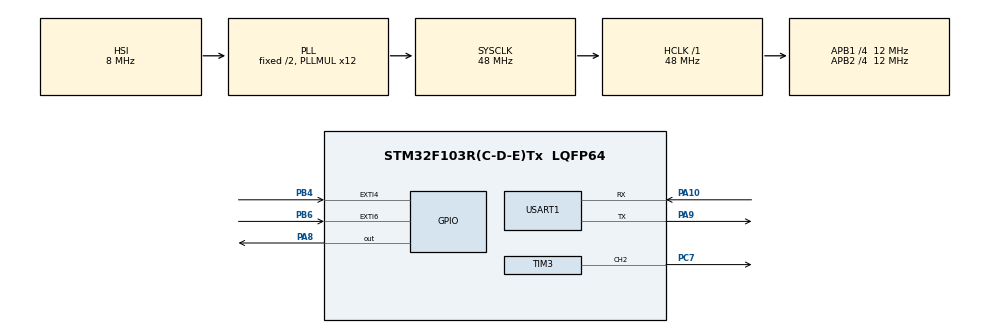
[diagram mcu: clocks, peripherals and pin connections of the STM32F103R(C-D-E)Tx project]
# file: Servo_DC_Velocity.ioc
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Mcu.Family=STM32F1
Mcu.Name=STM32F103R(C-D-E)Tx
Mcu.Package=LQFP64
NVIC.EXTI4_IRQn=true\:0\:0\:false\:false\:true\:true\:true\:true
NVIC.EXTI9_5_IRQn=true\:0\:0\:false\:false\:true\:true\:true\:true
NVIC.PriorityGroup=NVIC_PRIORITYGROUP_4
NVIC.TIM5_IRQn=true\:0\:0\:false\:false\:true\:true\:true\:true
NVIC.USART1_IRQn=true\:0\:0\:false\:false\:true\:true\:true\:true
PA10.Mode=Asynchronous
PA10.Signal=USART1_RX
PA13.Mode=Serial_Wire
PA13.Signal=SYS_JTMS-SWDIO
PA14.Mode=Serial_Wire
PA14.Signal=SYS_JTCK-SWCLK
PA8.Signal=GPIO_Output
PA9.Mode=Asynchronous
PA9.Signal=USART1_TX
PB4.GPIO_ModeDefaultEXTI=GPIO_MODE_IT_RISING_FALLING
PB4.Signal=GPXTI4
PB6.GPIO_ModeDefaultEXTI=GPIO_MODE_IT_RISING_FALLING
PB6.Signal=GPXTI6
PC7.Signal=S_TIM3_CH2
ProjectManager.HeapSize=0x200
ProjectManager.StackSize=0x400
ProjectManager.TargetToolchain=STM32CubeIDE
RCC.AHBFreq_Value=48000000
RCC.APB1CLKDivider=RCC_HCLK_DIV4
RCC.APB1Freq_Value=12000000
RCC.APB1TimFreq_Value=24000000
RCC.APB2CLKDivider=RCC_HCLK_DIV4
RCC.APB2Freq_Value=12000000
RCC.APB2TimFreq_Value=24000000
RCC.HCLKFreq_Value=48000000
RCC.PLLMUL=RCC_PLL_MUL12
RCC.SYSCLKFreq_VALUE=48000000
RCC.SYSCLKSource=RCC_SYSCLKSOURCE_PLLCLK
RCC.USBFreq_Value=48000000
SH.S_TIM3_CH2.0=TIM3_CH2,PWM Generation2 CH2
TIM3.Channel-PWM\ Generation2\ CH2=TIM_CHANNEL_2
TIM3.Period=1599
TIM3.Prescaler=0
TIM5.Period=239
TIM5.Prescaler=999
USART1.VirtualMode=VM_ASYNC
VP_TIM5_VS_ClockSourceINT.Mode=Internal
board=custom

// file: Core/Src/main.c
/* USER CODE BEGIN Header */
/**
  ******************************************************************************
  * @file           : main.c
  * @brief          : Main program body
  ******************************************************************************
  * @attention
  *
  * Copyright (c) 2025 STMicroelectronics.
  * All rights reserved.
  *
  * This software is licensed under terms that can be found in the LICENSE file
  * in the root directory of this software component.
  * If no LICENSE file comes with this software, it is provided AS-IS.
  *
  ******************************************************************************
  */
/* USER CODE END Header */
#include "main.h"

/* USER CODE BEGIN Includes */
#include <stdbool.h>
#include <stdio.h>
#include <stdlib.h>
#include <string.h>

/* USER CODE END Includes */

/* USER CODE BEGIN PTD */
typedef struct GPIO_Name {
  GPIO_TypeDef *port;
  uint16_t pin;
} GPIO_Name;

typedef struct {
  // previous state
  float  Ui_previous;
  float  Ud_previous;
  float  ek_previous;

  // control parameters
  float  Ts;
  float  Kp;
  float  Ki;
  float  Kd;
  float  alpha;
  float  Kb;

  // Don't want this to be modified
  const bool  allow_filter;
  const bool  allow_windup;
} PIDState;

typedef struct {
  float Total_PID;       // Final saturated output
  uint8_t dir;          // Direction of control, 1: forward, 0: reverse
} PIDOutputType;

typedef struct {
  int previous_encoder_state;
  int encoder_res;
  long revolutions;
  int counter;

  int Counter_Vec;
  float Current_Vec;
} EncoderState;

/* USER CODE END PTD */

/* USER CODE BEGIN PD */
#define PI        3.14159
#define MAX_SPEED 331  // rad/s
#define PI2REV    (PI / 2000)

/* USER CODE END PD */

/* USER CODE BEGIN PM */
// macros for change duty cycle in control program
#define set_duty(duty) __HAL_TIM_SET_COMPARE(&htim3, TIM_CHANNEL_2, duty);

/* USER CODE END PM */

TIM_HandleTypeDef htim3;
TIM_HandleTypeDef htim5;

UART_HandleTypeDef huart1;

/* USER CODE BEGIN PV */
// naming pin
GPIO_Name Encoder_Channel_A = {GPIOB, GPIO_PIN_4};
GPIO_Name Encoder_Channel_B = {GPIOB, GPIO_PIN_6};
GPIO_Name DIR_Port = {GPIOA, GPIO_PIN_8};

// State of Encoder
EncoderState encoder = {.previous_encoder_state = 0b00,
                          .encoder_res = 4000,
                          .revolutions = 0,
                          .counter = 0,
                          .Counter_Vec = 0,
                          .Current_Vec = 0};

// initialize the PID controller parameter
const float Kc = 10;
const float Tau_i = 0.06;
const float K = 33.1;

PIDState velocity_pid = {
  .Ui_previous = 0,
  .Ud_previous = 0,
  .ek_previous = 0,
  .Ts = (float)0.01,
  .Kp = Kc / (K * Tau_i),
  .Ki = Kc / K,
  .Kd = 0,
  .alpha = 0,
  .Kb = 1,
  .allow_filter = false,
  .allow_windup = true
};

uint8_t* Rx_data;
// Set points
float set_point_velocity = 0;

/* USER CODE END PV */

void SystemClock_Config(void);
static void MX_GPIO_Init(void);
static void MX_TIM3_Init(void);
static void MX_TIM5_Init(void);
static void MX_USART1_UART_Init(void);

int main(void)
{

  /* MCU Configuration--------------------------------------------------------*/

  /* Reset of all peripherals, Initializes the Flash interface and the Systick. */
  HAL_Init();

  /* Configure the system clock */
  SystemClock_Config();

  /* Initialize all configured peripherals */
  MX_GPIO_Init();
  MX_TIM3_Init();
  MX_TIM5_Init();
  MX_USART1_UART_Init();
  /* USER CODE BEGIN 2 */
  HAL_NVIC_DisableIRQ(EXTI9_5_IRQn);
  set_point_velocity = 300;
  HAL_GPIO_WritePin(GPIOA, GPIO_PIN_8, GPIO_PIN_SET);
  HAL_TIM_PWM_Start(&htim3, TIM_CHANNEL_2);
  HAL_TIM_Base_Start_IT(&htim5);

  HAL_UART_Transmit(&huart1, "V0\r\n", 4, 8);
  /* USER CODE END 2 */

  /* Infinite loop */
  while (1)
  {

  }
}

void SystemClock_Config(void)
{
  RCC_OscInitTypeDef RCC_OscInitStruct = {0};
  RCC_ClkInitTypeDef RCC_ClkInitStruct = {0};

  /** Initializes the RCC Oscillators according to the specified parameters
  * in the RCC_OscInitTypeDef structure.
  */
  RCC_OscInitStruct.OscillatorType = RCC_OSCILLATORTYPE_HSI;
  RCC_OscInitStruct.HSIState = RCC_HSI_ON;
  RCC_OscInitStruct.HSICalibrationValue = RCC_HSICALIBRATION_DEFAULT;
  RCC_OscInitStruct.PLL.PLLState = RCC_PLL_ON;
  RCC_OscInitStruct.PLL.PLLSource = RCC_PLLSOURCE_HSI_DIV2;
  RCC_OscInitStruct.PLL.PLLMUL = RCC_PLL_MUL12;
  if (HAL_RCC_OscConfig(&RCC_OscInitStruct) != HAL_OK)
  {
    Error_Handler();
  }

  /** Initializes the CPU, AHB and APB buses clocks
  */
  RCC_ClkInitStruct.ClockType = RCC_CLOCKTYPE_HCLK|RCC_CLOCKTYPE_SYSCLK
                              |RCC_CLOCKTYPE_PCLK1|RCC_CLOCKTYPE_PCLK2;
  RCC_ClkInitStruct.SYSCLKSource = RCC_SYSCLKSOURCE_PLLCLK;
  RCC_ClkInitStruct.AHBCLKDivider = RCC_SYSCLK_DIV1;
  RCC_ClkInitStruct.APB1CLKDivider = RCC_HCLK_DIV4;
  RCC_ClkInitStruct.APB2CLKDivider = RCC_HCLK_DIV4;

  if (HAL_RCC_ClockConfig(&RCC_ClkInitStruct, FLASH_LATENCY_1) != HAL_OK)
  {
    Error_Handler();
  }
}

static void MX_TIM3_Init(void)
{

  TIM_MasterConfigTypeDef sMasterConfig = {0};
  TIM_OC_InitTypeDef sConfigOC = {0};

  htim3.Instance = TIM3;
  htim3.Init.Prescaler = 0;
  htim3.Init.CounterMode = TIM_COUNTERMODE_UP;
  htim3.Init.Period = 1599;
  htim3.Init.ClockDivision = TIM_CLOCKDIVISION_DIV1;
  htim3.Init.AutoReloadPreload = TIM_AUTORELOAD_PRELOAD_DISABLE;
  if (HAL_TIM_PWM_Init(&htim3) != HAL_OK)
  {
    Error_Handler();
  }
  sMasterConfig.MasterOutputTrigger = TIM_TRGO_RESET;
  sMasterConfig.MasterSlaveMode = TIM_MASTERSLAVEMODE_DISABLE;
  if (HAL_TIMEx_MasterConfigSynchronization(&htim3, &sMasterConfig) != HAL_OK)
  {
    Error_Handler();
  }
  sConfigOC.OCMode = TIM_OCMODE_PWM1;
  sConfigOC.Pulse = 0;
  sConfigOC.OCPolarity = TIM_OCPOLARITY_HIGH;
  sConfigOC.OCFastMode = TIM_OCFAST_DISABLE;
  if (HAL_TIM_PWM_ConfigChannel(&htim3, &sConfigOC, TIM_CHANNEL_2) != HAL_OK)
  {
    Error_Handler();
  }
  HAL_TIM_MspPostInit(&htim3);

}

static void MX_TIM5_Init(void)
{

  TIM_ClockConfigTypeDef sClockSourceConfig = {0};
  TIM_MasterConfigTypeDef sMasterConfig = {0};

  htim5.Instance = TIM5;
  htim5.Init.Prescaler = 999;
  htim5.Init.CounterMode = TIM_COUNTERMODE_UP;
  htim5.Init.Period = 239;
  htim5.Init.ClockDivision = TIM_CLOCKDIVISION_DIV1;
  htim5.Init.AutoReloadPreload = TIM_AUTORELOAD_PRELOAD_DISABLE;
  if (HAL_TIM_Base_Init(&htim5) != HAL_OK)
  {
    Error_Handler();
  }
  sClockSourceConfig.ClockSource = TIM_CLOCKSOURCE_INTERNAL;
  if (HAL_TIM_ConfigClockSource(&htim5, &sClockSourceConfig) != HAL_OK)
  {
    Error_Handler();
  }
  sMasterConfig.MasterOutputTrigger = TIM_TRGO_RESET;
  sMasterConfig.MasterSlaveMode = TIM_MASTERSLAVEMODE_DISABLE;
  if (HAL_TIMEx_MasterConfigSynchronization(&htim5, &sMasterConfig) != HAL_OK)
  {
    Error_Handler();
  }

}

static void MX_USART1_UART_Init(void)
{

  huart1.Instance = USART1;
  huart1.Init.BaudRate = 115200;
  huart1.Init.WordLength = UART_WORDLENGTH_8B;
  huart1.Init.StopBits = UART_STOPBITS_1;
  huart1.Init.Parity = UART_PARITY_NONE;
  huart1.Init.Mode = UART_MODE_TX_RX;
  huart1.Init.HwFlowCtl = UART_HWCONTROL_NONE;
  huart1.Init.OverSampling = UART_OVERSAMPLING_16;
  if (HAL_UART_Init(&huart1) != HAL_OK)
  {
    Error_Handler();
  }

}

static void MX_GPIO_Init(void)
{
  GPIO_InitTypeDef GPIO_InitStruct = {0};

  /* GPIO Ports Clock Enable */
  __HAL_RCC_GPIOC_CLK_ENABLE();
  __HAL_RCC_GPIOA_CLK_ENABLE();
  __HAL_RCC_GPIOB_CLK_ENABLE();

  /*Configure GPIO pin Output Level */
  HAL_GPIO_WritePin(GPIOA, GPIO_PIN_8, GPIO_PIN_RESET);

  /*Configure GPIO pin : PA8 */
  GPIO_InitStruct.Pin = GPIO_PIN_8;
  GPIO_InitStruct.Mode = GPIO_MODE_OUTPUT_PP;
  GPIO_InitStruct.Pull = GPIO_NOPULL;
  GPIO_InitStruct.Speed = GPIO_SPEED_FREQ_LOW;
  HAL_GPIO_Init(GPIOA, &GPIO_InitStruct);

  /*Configure GPIO pins : PB4 PB6 */
  GPIO_InitStruct.Pin = GPIO_PIN_4|GPIO_PIN_6;
  GPIO_InitStruct.Mode = GPIO_MODE_IT_RISING_FALLING;
  GPIO_InitStruct.Pull = GPIO_NOPULL;
  HAL_GPIO_Init(GPIOB, &GPIO_InitStruct);

  /* EXTI interrupt init*/
  HAL_NVIC_SetPriority(EXTI4_IRQn, 0, 0);
  HAL_NVIC_EnableIRQ(EXTI4_IRQn);

  HAL_NVIC_SetPriority(EXTI9_5_IRQn, 0, 0);
  HAL_NVIC_EnableIRQ(EXTI9_5_IRQn);

}

/* USER CODE BEGIN 4 */

/**
  * @brief Digital PID function for Discrete system
  * @param pid_state: PID State that store previous state like ek, Ui, Ud (if filter is allowed) and control parameters of that PID like Kp, Ki, Kd, filter and anti wind-up param like alpha, Kb. This variable is made static so that the previous state can be directly modified inside this function.
  * @param set_point: This variable have type double. In Position control, this value is the relative distance with respect to the base point (Global base), therefore, it should have type float to represent real number. In velocity control, this values feature speed we want motor to reach, in such scenarios that speed of motor is controlled by Duty cycle of H-Bridge, we would want this to be the value of TIM->CCRx (uint16_t).
  * @param current: same as set_point, store the current velocity or relative distance.
  * @param ref_val: reference output for PID. In Position control, we have the output of this PID to be the speed (rad/s) and in Velocity control, this value is the maximum CCR (TIM->ARR)
  * @retval PIDOutputType
  */
PIDOutputType digital_PID(PIDState *pid_state,          // Store previous state of Digital PID and control params
                          const float set_point,         // set point for system
                          const float current,           // current value (velocity or distance)
                          const float ref_val)           // reference value (speed or Duty)
{
  // compute error
  const float ek = set_point - current;

  // compute partial terms
  const float Up = pid_state->Kp * ek;
  float Ui = pid_state->Ui_previous + pid_state->Ki * ek * pid_state->Ts;
  float Ud = pid_state->Kd * (ek - pid_state->ek_previous) / pid_state->Ts;

  // Activate filter (if allowed)
  if (pid_state->allow_filter)
  {
    Ud = pid_state->Ud_previous * (1 - pid_state->alpha) + pid_state->alpha * Ud;
    pid_state->Ud_previous = (float)Ud;
  }

  // total compute value
    float Total_PID = Up + Ui + Ud;

  // Activate anti-windup (if allowed)
  if (pid_state->allow_windup)
  {
    double e_reset = 0;
    if (Total_PID < -ref_val)
    {
      e_reset = -ref_val - Total_PID;
    }
    else if (Total_PID > ref_val)
    {
      e_reset = Total_PID - ref_val;
    }
    Ui = (float)(Ui + pid_state->Kb * e_reset * pid_state->Ts);
  }

  // update state for next call
  pid_state->Ui_previous = Ui;
  pid_state->ek_previous = ek;

  // Saturate the output
  uint8_t _dir = 1;   // forward direction
  if (Total_PID < 0)
  {
    Total_PID = -Total_PID;
    _dir ^= 1;
  }
  if (Total_PID > ref_val)
    Total_PID = ref_val;

  return (PIDOutputType){Total_PID, _dir};
}

// external interrupt callback to update the distance
void HAL_GPIO_EXTI_Callback(uint16_t GPIO_Pin)
{
  // Handle EXTERNAL interrupts for Channel A and Channel B (PB4, PB6)
  if (GPIO_Pin == GPIO_PIN_4)
  {
    // Update State of encoder
    char encoder_state =
            ((HAL_GPIO_ReadPin(Encoder_Channel_A.port, Encoder_Channel_A.pin) == GPIO_PIN_SET) << 1) |
            ((HAL_GPIO_ReadPin(Encoder_Channel_B.port, Encoder_Channel_B.pin) == GPIO_PIN_SET) << 0);

    // Check the transition between previous and current states to determine rotation direction
    switch (encoder_state)
    {
    case 0b00:
      if (encoder.previous_encoder_state == 0b01)       // 0 | 1 --> 0 | 0
          encoder.counter++;
      else if (encoder.previous_encoder_state == 0b10)  // 1 | 0 --> 0 | 0
          encoder.counter--;
      break;

    case 0b01:
      if (encoder.previous_encoder_state == 0b11)       // 1 | 1 --> 0 | 1
          encoder.counter++;
      else if (encoder.previous_encoder_state == 0b00)  // 0 | 0 --> 0 | 1
          encoder.counter--;
      break;

    case 0b10:
      if (encoder.previous_encoder_state == 0b00)       // 0 | 0 --> 1 | 0
          encoder.counter++;
      else if (encoder.previous_encoder_state == 0b11)  // 1 | 1 --> 1 | 0
          encoder.counter--;
      break;

    case 0b11:
      if (encoder.previous_encoder_state == 0b10)       // 1 | 0 --> 1 | 1
          encoder.counter++;
      else if (encoder.previous_encoder_state == 0b01)  // 0 | 1 --> 1 | 1
          encoder.counter--;
      break;

    // Should not fall into this case
    default:
        break;
    }
    // Handle out of range (Encoder's Resolution)
    if (encoder.counter >= encoder.encoder_res)
    {
      encoder.counter = 0;
      encoder.revolutions ++;
    }
    if (encoder.counter <= -encoder.encoder_res)
    {
      encoder.counter = 0;
      encoder.revolutions --;
    }
    // Update the previous state for the next rotation step
    encoder.previous_encoder_state = encoder_state;
    encoder.Counter_Vec++;
  }
}

void compute_velocity(void)
{
    const int CntTmp = encoder.Counter_Vec;
    encoder.Counter_Vec = 0;

    encoder.Current_Vec = (float)((float)CntTmp * PI / 10);
}

// TIM4 interrupt to run PI on velocity
// TIM5 interrupt to run PID on distance
void HAL_TIM_PeriodElapsedCallback(TIM_HandleTypeDef *htim)
{
    if (htim->Instance == TIM5)     // transmit data using TIM5 Interrupt
    {
      // Compute velocity
      compute_velocity();

    	// Compute PID
    	PIDOutputType vec_result = digital_PID(&velocity_pid, set_point_velocity, encoder.Current_Vec, 1599);

    	// set direction
    	if (vec_result.dir == 1)
    	{
    		HAL_GPIO_WritePin(DIR_Port.port, DIR_Port.pin, GPIO_PIN_SET);
    	}
    	else
    	{
    		HAL_GPIO_WritePin(DIR_Port.port, DIR_Port.pin, GPIO_PIN_RESET);
    	}

    	// set velocity
    	set_duty((int)vec_result.Total_PID)

    	// transmit the velocity
    	char buffer_vec[0x1F] = {0};
    	sprintf(buffer_vec, "V%.2f\r\n", encoder.Current_Vec);
    	HAL_UART_Transmit(&huart1, buffer_vec, strlen(buffer_vec), 10);
    }
}

// void HAL_UART_RxCpltCallback(UART_HandleTypeDef *huart)
// {
//     if (huart->Instance == USART1)
//     {
//         switch (Rx_data[0]) {
//             case 'r':
//                 // Start
//                 break;
//             case 'e':
//                 // Stop
//                 break;
//             case 'g':
//                 // resume (after pause)
//                 break;
//             case 'f':
//                 // pause
//                 break;
//             case 'a':
//                 // set vec and pos
//                 int i;
//                 uint8_t buffer_vec[0xF] = {0};
//                 i = 0;
//                 while (buffer_vec[i] != 's')
//                     HAL_UART_Receive(&huart1, &buffer_vec[i++], 1, 5);
//
//                 buffer_vec[0] = 0;
//                 i = 0;
//                 while (buffer_vec[i] != 'v')
//                     HAL_UART_Receive(&huart1, &buffer_vec[i++], 1, 5);
//
//                 set_point_velocity = (float)strtod((char *)buffer_vec + 1, NULL);
//                 break;
//         }
//     }
// }
/* USER CODE END 4 */

void Error_Handler(void)
{
  __disable_irq();
  while (1)
  {
  }
}
